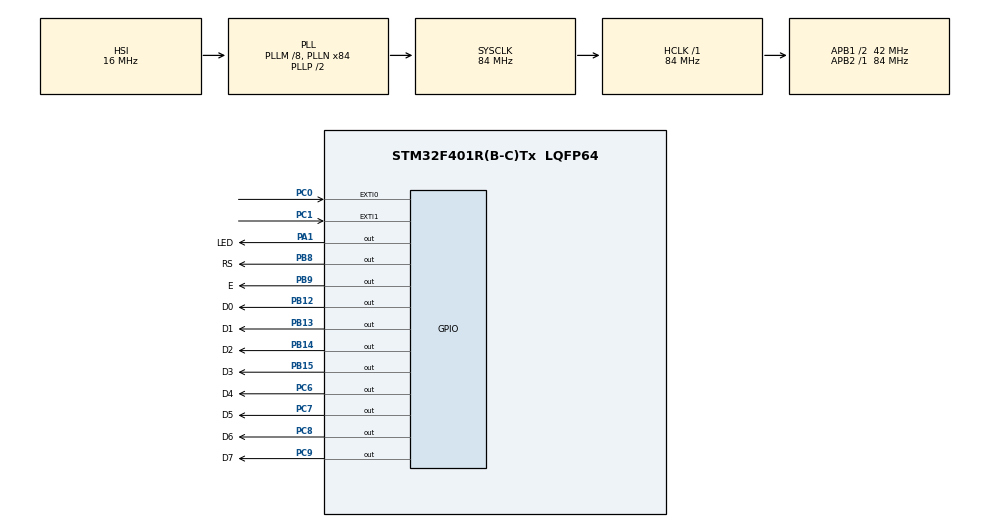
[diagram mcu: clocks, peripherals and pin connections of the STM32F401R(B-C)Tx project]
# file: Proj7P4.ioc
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Mcu.Family=STM32F4
RCC.CortexFreq_Value=84000000
PB9.GPIO_Label=E
PC9.GPIO_Label=D7
PB14.GPIO_Label=D2
PC8.Signal=GPIO_Output
PC6.Signal=GPIO_Output
PC6.GPIO_Label=D4
PC0.Signal=GPXTI0
RCC.APB1CLKDivider=RCC_HCLK_DIV2
PB13.GPIO_Label=D1
PB13.Signal=GPIO_Output
PB15.Signal=GPIO_Output
RCC.SYSCLKSource=RCC_SYSCLKSOURCE_PLLCLK
ProjectManager.StackSize=0x400
PC8.GPIO_Label=D6
PB8.GPIO_Label=RS
NVIC.EXTI1_IRQn=true\:0\:0\:false\:false\:true\:true\:true
TIM1.Prescaler=41
ProjectManager.TargetToolchain=STM32CubeIDE
RCC.HCLKFreq_Value=84000000
RCC.APB2TimFreq_Value=84000000
PC7.Signal=GPIO_Output
RCC.LSE_VALUE=32768
PA1.Signal=GPIO_Output
RCC.AHBFreq_Value=84000000
PB14.Signal=GPIO_Output
RCC.HSE_VALUE=25000000
board=custom
RCC.VCOOutputFreq_Value=168000000
PB12.GPIO_Label=D0
TIM1.TIM_MasterOutputTrigger=TIM_TRGO_UPDATE
RCC.APB2Freq_Value=84000000
PB15.GPIO_Label=D3
PA1.GPIO_Label=LED
Mcu.Name=STM32F401R(B-C)Tx
VP_TIM1_VS_ClockSourceINT.Mode=Internal
PC7.GPIO_Label=D5
RCC.48MHZClocksFreq_Value=42000000
NVIC.EXTI0_IRQn=true\:0\:0\:true\:false\:true\:true\:true
RCC.SYSCLKFreq_VALUE=84000000
Mcu.Package=LQFP64
PB9.Signal=GPIO_Output
ProjectManager.HeapSize=0x200
NVIC.TIM1_UP_TIM10_IRQn=true\:0\:0\:false\:false\:true\:true\:true
RCC.HSI_VALUE=16000000
NVIC.PriorityGroup=NVIC_PRIORITYGROUP_4
RCC.PLLM=8
RCC.PLLN=84
PC1.GPIO_ModeDefaultEXTI=GPIO_MODE_IT_FALLING
RCC.APB1TimFreq_Value=84000000
PB8.Signal=GPIO_Output
TIM1.Period=1
PC9.Signal=GPIO_Output
RCC.APB1Freq_Value=42000000
PC1.Signal=GPXTI1
PB12.Signal=GPIO_Output

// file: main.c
/* USER CODE BEGIN Header */
/**
  ******************************************************************************
  * @file           : main.c
  * @brief          : Main program body
  ******************************************************************************
  * @attention
  *
  * <h2><center>&copy; Copyright (c) 2021 STMicroelectronics.
  * All rights reserved.</center></h2>
  *
  * This software component is licensed by ST under BSD 3-Clause license,
  * the "License"; You may not use this file except in compliance with the
  * License. You may obtain a copy of the License at:
  *                        opensource.org/licenses/BSD-3-Clause
  *
  ******************************************************************************
  */
/* USER CODE END Header */
#include "main.h"

/* USER CODE BEGIN Includes */
#include "STM_MY_LCD16X2.h"
/* USER CODE END Includes */

TIM_HandleTypeDef htim1;

/* USER CODE BEGIN PV */
long IC_Value1 = 0;
long IC_Value2 = 0;
long Difference = 0;
long Frequency = 0;
uint8_t Is_First_Captured = 0;  // 0- not captured, 1- captured
#define COUNT_MAX	8
static volatile uint32_t risingCount[COUNT_MAX];
static volatile uint32_t fallingCount[COUNT_MAX];
static volatile uint32_t offset, number;
long Capture=0;
uint32_t CaptureNumber=0;
uint32_t TimeCntValue=0;
uint32_t TimeCntValue0;
int i=0;
/* USER CODE END PV */

void SystemClock_Config(void);
static void MX_GPIO_Init(void);
static void MX_TIM1_Init(void);

int main(void)
{

  /* MCU Configuration--------------------------------------------------------*/

  /* Reset of all peripherals, Initializes the Flash interface and the Systick. */
  HAL_Init();

  /* Configure the system clock */
  SystemClock_Config();

  /* Initialize all configured peripherals */
  MX_GPIO_Init();
  MX_TIM1_Init();
  /* USER CODE BEGIN 2 */
  HAL_TIM_Base_Start_IT(&htim1);
  /* USER CODE END 2 */

  /* Infinite loop */
  while (1)
  {

	  LCD1602_Begin8BIT(RS_GPIO_Port, RS_Pin, E_Pin, D0_GPIO_Port, D0_Pin, D1_Pin, D2_Pin, D3_Pin, D4_GPIO_Port, D4_Pin, D5_Pin, D6_Pin, D7_Pin);
	 			  LCD1602_PrintInt(125000/Capture);

  }
}

void SystemClock_Config(void)
{
  RCC_OscInitTypeDef RCC_OscInitStruct = {0};
  RCC_ClkInitTypeDef RCC_ClkInitStruct = {0};

  /** Configure the main internal regulator output voltage
  */
  __HAL_RCC_PWR_CLK_ENABLE();
  __HAL_PWR_VOLTAGESCALING_CONFIG(PWR_REGULATOR_VOLTAGE_SCALE2);
  /** Initializes the RCC Oscillators according to the specified parameters
  * in the RCC_OscInitTypeDef structure.
  */
  RCC_OscInitStruct.OscillatorType = RCC_OSCILLATORTYPE_HSI;
  RCC_OscInitStruct.HSIState = RCC_HSI_ON;
  RCC_OscInitStruct.HSICalibrationValue = RCC_HSICALIBRATION_DEFAULT;
  RCC_OscInitStruct.PLL.PLLState = RCC_PLL_ON;
  RCC_OscInitStruct.PLL.PLLSource = RCC_PLLSOURCE_HSI;
  RCC_OscInitStruct.PLL.PLLM = 8;
  RCC_OscInitStruct.PLL.PLLN = 84;
  RCC_OscInitStruct.PLL.PLLP = RCC_PLLP_DIV2;
  RCC_OscInitStruct.PLL.PLLQ = 4;
  if (HAL_RCC_OscConfig(&RCC_OscInitStruct) != HAL_OK)
  {
    Error_Handler();
  }
  /** Initializes the CPU, AHB and APB buses clocks
  */
  RCC_ClkInitStruct.ClockType = RCC_CLOCKTYPE_HCLK|RCC_CLOCKTYPE_SYSCLK
                              |RCC_CLOCKTYPE_PCLK1|RCC_CLOCKTYPE_PCLK2;
  RCC_ClkInitStruct.SYSCLKSource = RCC_SYSCLKSOURCE_PLLCLK;
  RCC_ClkInitStruct.AHBCLKDivider = RCC_SYSCLK_DIV1;
  RCC_ClkInitStruct.APB1CLKDivider = RCC_HCLK_DIV2;
  RCC_ClkInitStruct.APB2CLKDivider = RCC_HCLK_DIV1;

  if (HAL_RCC_ClockConfig(&RCC_ClkInitStruct, FLASH_LATENCY_2) != HAL_OK)
  {
    Error_Handler();
  }
}

static void MX_TIM1_Init(void)
{

  TIM_ClockConfigTypeDef sClockSourceConfig = {0};
  TIM_MasterConfigTypeDef sMasterConfig = {0};

  htim1.Instance = TIM1;
  htim1.Init.Prescaler = 41;
  htim1.Init.CounterMode = TIM_COUNTERMODE_UP;
  htim1.Init.Period = 1;
  htim1.Init.ClockDivision = TIM_CLOCKDIVISION_DIV1;
  htim1.Init.RepetitionCounter = 0;
  htim1.Init.AutoReloadPreload = TIM_AUTORELOAD_PRELOAD_DISABLE;
  if (HAL_TIM_Base_Init(&htim1) != HAL_OK)
  {
    Error_Handler();
  }
  sClockSourceConfig.ClockSource = TIM_CLOCKSOURCE_INTERNAL;
  if (HAL_TIM_ConfigClockSource(&htim1, &sClockSourceConfig) != HAL_OK)
  {
    Error_Handler();
  }
  sMasterConfig.MasterOutputTrigger = TIM_TRGO_UPDATE;
  sMasterConfig.MasterSlaveMode = TIM_MASTERSLAVEMODE_DISABLE;
  if (HAL_TIMEx_MasterConfigSynchronization(&htim1, &sMasterConfig) != HAL_OK)
  {
    Error_Handler();
  }

}

static void MX_GPIO_Init(void)
{
  GPIO_InitTypeDef GPIO_InitStruct = {0};

  /* GPIO Ports Clock Enable */
  __HAL_RCC_GPIOC_CLK_ENABLE();
  __HAL_RCC_GPIOA_CLK_ENABLE();
  __HAL_RCC_GPIOB_CLK_ENABLE();

  /*Configure GPIO pin Output Level */
  HAL_GPIO_WritePin(LED_GPIO_Port, LED_Pin, GPIO_PIN_RESET);

  /*Configure GPIO pin Output Level */
  HAL_GPIO_WritePin(GPIOB, D0_Pin|D1_Pin|D2_Pin|D3_Pin
                          |RS_Pin|E_Pin, GPIO_PIN_RESET);

  /*Configure GPIO pin Output Level */
  HAL_GPIO_WritePin(GPIOC, D4_Pin|D5_Pin|D6_Pin|D7_Pin, GPIO_PIN_RESET);

  /*Configure GPIO pin : PC0 */
  GPIO_InitStruct.Pin = GPIO_PIN_0;
  GPIO_InitStruct.Mode = GPIO_MODE_IT_RISING;
  GPIO_InitStruct.Pull = GPIO_NOPULL;
  HAL_GPIO_Init(GPIOC, &GPIO_InitStruct);

  /*Configure GPIO pin : PC1 */
  GPIO_InitStruct.Pin = GPIO_PIN_1;
  GPIO_InitStruct.Mode = GPIO_MODE_IT_FALLING;
  GPIO_InitStruct.Pull = GPIO_NOPULL;
  HAL_GPIO_Init(GPIOC, &GPIO_InitStruct);

  /*Configure GPIO pin : LED_Pin */
  GPIO_InitStruct.Pin = LED_Pin;
  GPIO_InitStruct.Mode = GPIO_MODE_OUTPUT_PP;
  GPIO_InitStruct.Pull = GPIO_NOPULL;
  GPIO_InitStruct.Speed = GPIO_SPEED_FREQ_LOW;
  HAL_GPIO_Init(LED_GPIO_Port, &GPIO_InitStruct);

  /*Configure GPIO pins : D0_Pin D1_Pin D2_Pin D3_Pin
                           RS_Pin E_Pin */
  GPIO_InitStruct.Pin = D0_Pin|D1_Pin|D2_Pin|D3_Pin
                          |RS_Pin|E_Pin;
  GPIO_InitStruct.Mode = GPIO_MODE_OUTPUT_PP;
  GPIO_InitStruct.Pull = GPIO_NOPULL;
  GPIO_InitStruct.Speed = GPIO_SPEED_FREQ_LOW;
  HAL_GPIO_Init(GPIOB, &GPIO_InitStruct);

  /*Configure GPIO pins : D4_Pin D5_Pin D6_Pin D7_Pin */
  GPIO_InitStruct.Pin = D4_Pin|D5_Pin|D6_Pin|D7_Pin;
  GPIO_InitStruct.Mode = GPIO_MODE_OUTPUT_PP;
  GPIO_InitStruct.Pull = GPIO_NOPULL;
  GPIO_InitStruct.Speed = GPIO_SPEED_FREQ_LOW;
  HAL_GPIO_Init(GPIOC, &GPIO_InitStruct);

  /* EXTI interrupt init*/
  HAL_NVIC_SetPriority(EXTI0_IRQn, 0, 0);
  HAL_NVIC_EnableIRQ(EXTI0_IRQn);

  HAL_NVIC_SetPriority(EXTI1_IRQn, 0, 0);
  HAL_NVIC_EnableIRQ(EXTI1_IRQn);

}

void Error_Handler(void)
{
  __disable_irq();
  while (1)
  {
  }
}

/************************ (C) COPYRIGHT STMicroelectronics *****END OF FILE****/
